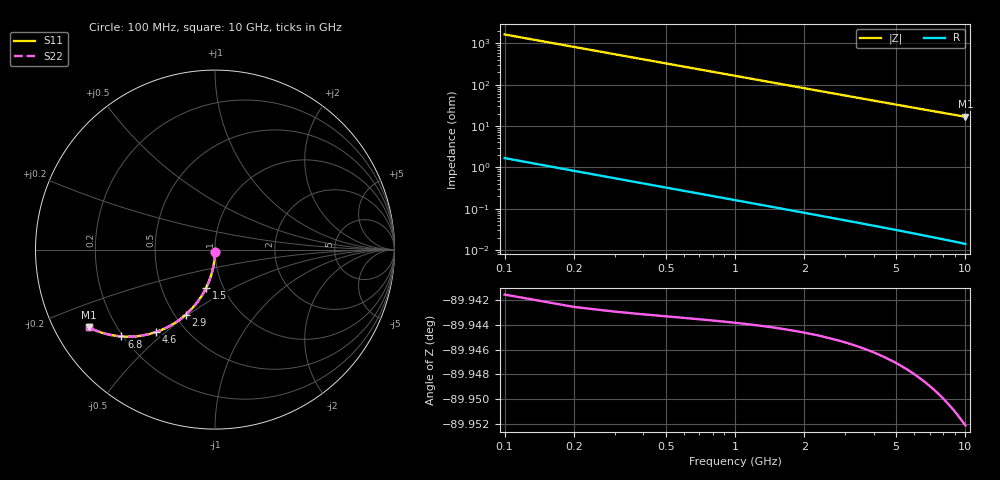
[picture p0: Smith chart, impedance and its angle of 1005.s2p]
# Hz S RI R 50.00
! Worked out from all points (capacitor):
!   100 points, 100 MHz to 10 GHz, reference 50 ohm
!   read as one part in shunt: C = 971 fF near 100 MHz
!   lowest |Z| = 16.7 ohm at 10 GHz (marker M1)
!   S11 on the Smith chart (normalised r, x): 100 MHz: 1.00, -0.03; 1.5 GHz: 0.83, -0.37; 2.9 GHz: 0.57, -0.49; 4.6 GHz: 0.34, -0.46; 6.8 GHz: 0.19, -0.38; 10 GHz: 0.10, -0.28
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1e8  -0.000141 -0.015  0.9996 -0.0155  0.9996 -0.0155  -0.000141 -0.015
2e8  -0.000853 -0.03  0.9989 -0.0309  0.9989 -0.0309  -0.000853 -0.03
3e8  -0.00203 -0.045  0.9978 -0.0463  0.9978 -0.0463  -0.00203 -0.045
4e8  -0.00366 -0.0599  0.9961 -0.0617  0.9961 -0.0617  -0.00366 -0.0599
5e8  -0.00575 -0.0747  0.994 -0.077  0.994 -0.077  -0.00575 -0.0747
6e8  -0.00829 -0.0894  0.9915 -0.0921  0.9915 -0.0921  -0.00829 -0.0894
7e8  -0.0113 -0.104  0.9885 -0.1071  0.9885 -0.1071  -0.0113 -0.104
9e8  -0.0185 -0.1328  0.9812 -0.1368  0.9812 -0.1368  -0.0185 -0.1328
1.2e9  -0.0325 -0.1745  0.9673 -0.1798  0.9673 -0.1798  -0.0325 -0.1745
1.5e9  -0.0499 -0.2141  0.9499 -0.2208  0.9499 -0.2208  -0.0499 -0.2141
1.8e9  -0.0703 -0.2514  0.9294 -0.2594  0.9294 -0.2594  -0.0703 -0.2514
2.3e9  -0.1099 -0.3073  0.8898 -0.3176  0.8898 -0.3176  -0.1099 -0.3073
2.9e9  -0.1642 -0.3636  0.8355 -0.3765  0.8355 -0.3765  -0.1642 -0.3636
3.4e9  -0.2127 -0.4013  0.787 -0.4164  0.787 -0.4164  -0.2127 -0.4013
4e9  -0.2723 -0.4358  0.7273 -0.4537  0.7273 -0.4537  -0.2723 -0.4358
4.6e9  -0.3313 -0.46  0.6682 -0.4805  0.6682 -0.4805  -0.3313 -0.46
5.1e9  -0.3788 -0.4732  0.6207 -0.496  0.6207 -0.496  -0.3788 -0.4732
5.9e9  -0.4498 -0.4838  0.5496 -0.5102  0.5496 -0.5102  -0.4498 -0.4838
6.7e9  -0.5137 -0.4842  0.4856 -0.5144  0.4856 -0.5144  -0.5137 -0.4842
6.8e9  -0.5212 -0.4837  0.4781 -0.5143  0.4781 -0.5143  -0.5212 -0.4837
8.4e9  -0.6254 -0.4644  0.3736 -0.5024  0.3736 -0.5024  -0.6254 -0.4644
1e10  -0.7041 -0.4328  0.2946 -0.4784  0.2946 -0.4784  -0.7041 -0.4328
